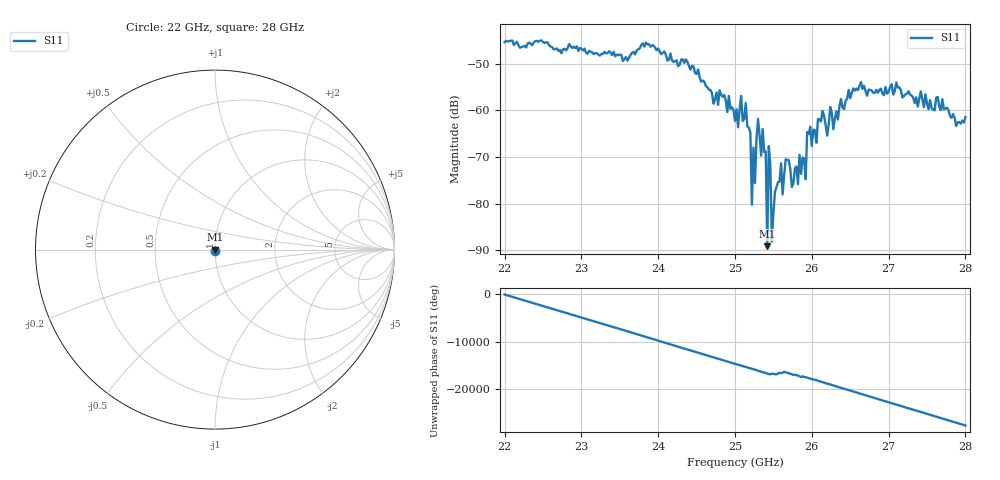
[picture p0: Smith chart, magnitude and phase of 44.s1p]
#  HZ  S  RI  R  50.00
! Rohde & Schwarz ZVA40 4Ports - Version 3.90 - 1145.1110k42 SN: 100403
! Date: 2023-10-04 08:48:32
! Measurement: S12
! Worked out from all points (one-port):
!   301 points, 22 GHz to 28 GHz, reference 50 ohm
!   lowest |S11| = -89.1 dB at 25.42 GHz (marker M1), VSWR 1.00, Z = 50 - j0.00334 ohm
!   |S11| at or under -10 dB: start of sweep to end of sweep
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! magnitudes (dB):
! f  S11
! 22 GHz  -45.4
! 22.76 GHz  -46.9
! 23.5 GHz  -48.1
! 24.26 GHz  -50.5
! 25 GHz  -62.3
! 25.14 GHz  -58.4
! 25.2 GHz  -64.7
! 25.22 GHz  -80.2
! 25.24 GHz  -68.0
! 25.26 GHz  -75.6
! 25.3 GHz  -61.8
! 25.34 GHz  -69.7
! 25.36 GHz  -64.0
! 25.4 GHz  -68.8
! 25.42 GHz  -89.1
! 25.44 GHz  -67.7
! 25.48 GHz  -88.1
! 25.6 GHz  -71.4
! 25.62 GHz  -78.0
! 25.66 GHz  -70.5
! 25.76 GHz  -75.7
! 25.84 GHz  -69.6
! 25.92 GHz  -74.8
! 25.94 GHz  -64.6
! 25.98 GHz  -63.5
! 26.5 GHz  -57.4
! 27.26 GHz  -55.9
! 28 GHz  -61.5
